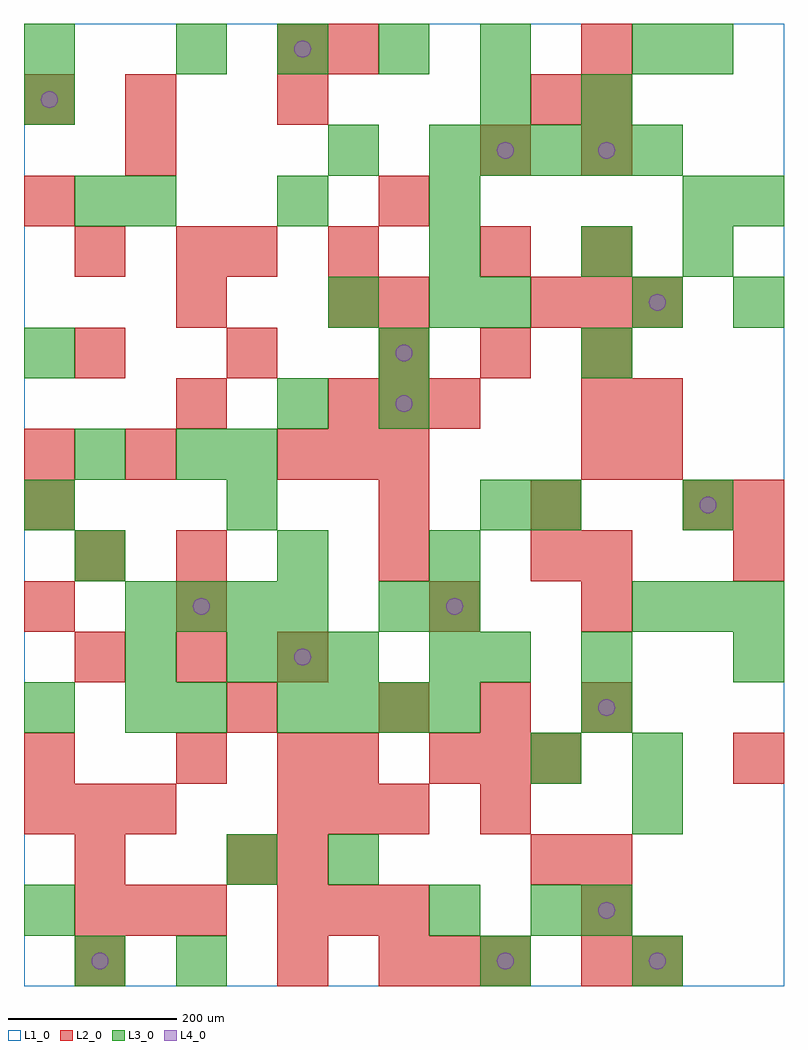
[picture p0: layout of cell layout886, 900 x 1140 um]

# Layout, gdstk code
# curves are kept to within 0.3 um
import gdstk
lib = gdstk.Library(unit=1e-6, precision=1e-09)
def R(c, l, rs):  # rectangles x0, y0, x1, y1
    for r in rs: c.add(gdstk.rectangle(r[:2], r[2:], *l))
def A(c, l, x, y, w, h, nx, ny, dx, dy):  # array of equal rectangles
    R(c, l, [(x+i*dx, y+j*dy, x+i*dx+w, y+j*dy+h) for i in range(nx) for j in range(ny)])
def P(c, l, *ps):  # polygons
    for p in ps: c.add(gdstk.Polygon(p, *l))
L1_0 = (1, 0)
L2_0 = (2, 0)
L3_0 = (3, 0)
L4_0 = (4, 0)

layout886 = lib.new_cell('layout886')
R(layout886, L1_0, [(0,0,900,1140)])
A(layout886, L2_0, 300, 0, 60, 60, 1, 3, 0, 120)
A(layout886, L2_0, 420, 0, 60, 60, 3, 1, 60, 0)
A(layout886, L2_0, 660, 0, 60, 60, 1, 3, 0, 60)
A(layout886, L2_0, 60, 60, 60, 60, 3, 1, 60, 0)
A(layout886, L2_0, 300, 60, 60, 60, 3, 2, 60, 120)
A(layout886, L2_0, 60, 120, 60, 60, 1, 3, 0, 360)
A(layout886, L2_0, 0, 180, 60, 60, 3, 1, 60, 0)
A(layout886, L2_0, 480, 240, 60, 60, 3, 1, 60, 0)
A(layout886, L2_0, 420, 300, 60, 60, 3, 1, 120, 0)
A(layout886, L2_0, 60, 360, 60, 60, 3, 1, 120, 0)
A(layout886, L2_0, 420, 540, 60, 60, 3, 1, 180, 0)
A(layout886, L2_0, 300, 600, 60, 60, 3, 1, 60, 0)
A(layout886, L2_0, 660, 600, 60, 60, 1, 3, 0, 60)
A(layout886, L2_0, 360, 660, 60, 60, 3, 1, 60, 0)
A(layout886, L2_0, 60, 720, 60, 60, 3, 1, 180, 0)
A(layout886, L2_0, 540, 720, 60, 60, 1, 3, 0, 120)
A(layout886, L2_0, 600, 780, 60, 60, 3, 1, 60, 0)
A(layout886, L2_0, 660, 960, 60, 60, 1, 3, 0, 60)
R(layout886, L2_0, [(60,0,120,60), (720,0,780,60), (240,120,300,180), (600,120,660,180), (540,180,600,240), (0,240,60,300), (180,240,240,300), (360,240,420,300), (840,240,900,300), (240,300,300,360), (0,420,60,480), (180,420,240,480), (480,420,540,480), (660,420,720,480), (180,480,240,540), (420,480,480,540), (600,480,660,540), (660,480,720,540), (840,480,900,540), (0,540,60,600), (840,540,900,600), (0,600,60,660), (120,600,180,660), (720,600,780,660), (180,660,240,720), (720,660,780,720), (180,780,240,840), (360,780,420,840), (420,780,480,840), (180,840,240,900), (240,840,300,900), (360,840,420,900), (660,840,720,900), (0,900,60,960), (420,900,480,960), (120,960,180,1020), (0,1020,60,1080), (120,1020,180,1080), (300,1020,360,1080), (600,1020,660,1080), (300,1080,360,1140), (360,1080,420,1140)])
A(layout886, L3_0, 180, 0, 60, 60, 1, 3, 0, 300)
A(layout886, L3_0, 0, 60, 60, 60, 1, 3, 0, 240)
A(layout886, L3_0, 300, 300, 60, 60, 4, 1, 60, 0)
A(layout886, L3_0, 240, 360, 60, 60, 3, 1, 60, 0)
A(layout886, L3_0, 480, 360, 60, 60, 1, 3, 0, 60)
A(layout886, L3_0, 120, 420, 60, 60, 4, 1, 60, 0)
A(layout886, L3_0, 720, 420, 60, 60, 3, 1, 60, 0)
A(layout886, L3_0, 540, 540, 60, 60, 1, 3, 0, 240)
A(layout886, L3_0, 120, 900, 60, 60, 3, 1, 180, 0)
A(layout886, L3_0, 480, 960, 60, 60, 5, 1, 60, 0)
A(layout886, L3_0, 180, 1080, 60, 60, 4, 1, 120, 0)
R(layout886, L3_0, [(60,0,120,60), (540,0,600,60), (720,0,780,60), (480,60,540,120), (600,60,660,120), (660,60,720,120), (240,120,300,180), (360,120,420,180), (720,180,780,240), (600,240,660,300), (720,240,780,300), (120,300,180,360), (660,300,720,360), (120,360,180,420), (540,360,600,420), (660,360,720,420), (840,360,900,420), (420,420,480,480), (60,480,120,540), (300,480,360,540), (240,540,300,600), (600,540,660,600), (780,540,840,600), (60,600,120,660), (240,600,300,660), (300,660,360,720), (420,660,480,720), (0,720,60,780), (420,720,480,780), (660,720,720,780), (360,780,420,840), (480,780,540,840), (720,780,780,840), (840,780,900,840), (480,840,540,900), (660,840,720,900), (780,840,840,900), (60,900,120,960), (780,900,840,960), (840,900,900,960), (360,960,420,1020), (0,1020,60,1080), (660,1020,720,1080), (0,1080,60,1140), (720,1080,780,1140), (780,1080,840,1140)])
P(layout886, L4_0, [(40,1050),(39.239,1053.827),(37.071,1057.071),(33.827,1059.239),(30,1060),(26.173,1059.239),(22.929,1057.071),(20.761,1053.827),(20,1050),(20.761,1046.173),(22.929,1042.929),(26.173,1040.761),(30,1040),(33.827,1040.761),(37.071,1042.929),(39.239,1046.173)],
  [(100,30),(99.239,33.827),(97.071,37.071),(93.827,39.239),(90,40),(86.173,39.239),(82.929,37.071),(80.761,33.827),(80,30),(80.761,26.173),(82.929,22.929),(86.173,20.761),(90,20),(93.827,20.761),(97.071,22.929),(99.239,26.173)],
  [(220,450),(219.239,453.827),(217.071,457.071),(213.827,459.239),(210,460),(206.173,459.239),(202.929,457.071),(200.761,453.827),(200,450),(200.761,446.173),(202.929,442.929),(206.173,440.761),(210,440),(213.827,440.761),(217.071,442.929),(219.239,446.173)],
  [(340,390),(339.239,393.827),(337.071,397.071),(333.827,399.239),(330,400),(326.173,399.239),(322.929,397.071),(320.761,393.827),(320,390),(320.761,386.173),(322.929,382.929),(326.173,380.761),(330,380),(333.827,380.761),(337.071,382.929),(339.239,386.173)],
  [(340,1110),(339.239,1113.827),(337.071,1117.071),(333.827,1119.239),(330,1120),(326.173,1119.239),(322.929,1117.071),(320.761,1113.827),(320,1110),(320.761,1106.173),(322.929,1102.929),(326.173,1100.761),(330,1100),(333.827,1100.761),(337.071,1102.929),(339.239,1106.173)],
  [(460,690),(459.239,693.827),(457.071,697.071),(453.827,699.239),(450,700),(446.173,699.239),(442.929,697.071),(440.761,693.827),(440,690),(440.761,686.173),(442.929,682.929),(446.173,680.761),(450,680),(453.827,680.761),(457.071,682.929),(459.239,686.173)],
  [(460,750),(459.239,753.827),(457.071,757.071),(453.827,759.239),(450,760),(446.173,759.239),(442.929,757.071),(440.761,753.827),(440,750),(440.761,746.173),(442.929,742.929),(446.173,740.761),(450,740),(453.827,740.761),(457.071,742.929),(459.239,746.173)],
  [(520,450),(519.239,453.827),(517.071,457.071),(513.827,459.239),(510,460),(506.173,459.239),(502.929,457.071),(500.761,453.827),(500,450),(500.761,446.173),(502.929,442.929),(506.173,440.761),(510,440),(513.827,440.761),(517.071,442.929),(519.239,446.173)],
  [(580,30),(579.239,33.827),(577.071,37.071),(573.827,39.239),(570,40),(566.173,39.239),(562.929,37.071),(560.761,33.827),(560,30),(560.761,26.173),(562.929,22.929),(566.173,20.761),(570,20),(573.827,20.761),(577.071,22.929),(579.239,26.173)],
  [(580,990),(579.239,993.827),(577.071,997.071),(573.827,999.239),(570,1000),(566.173,999.239),(562.929,997.071),(560.761,993.827),(560,990),(560.761,986.173),(562.929,982.929),(566.173,980.761),(570,980),(573.827,980.761),(577.071,982.929),(579.239,986.173)],
  [(700,90),(699.239,93.827),(697.071,97.071),(693.827,99.239),(690,100),(686.173,99.239),(682.929,97.071),(680.761,93.827),(680,90),(680.761,86.173),(682.929,82.929),(686.173,80.761),(690,80),(693.827,80.761),(697.071,82.929),(699.239,86.173)],
  [(700,330),(699.239,333.827),(697.071,337.071),(693.827,339.239),(690,340),(686.173,339.239),(682.929,337.071),(680.761,333.827),(680,330),(680.761,326.173),(682.929,322.929),(686.173,320.761),(690,320),(693.827,320.761),(697.071,322.929),(699.239,326.173)],
  [(700,990),(699.239,993.827),(697.071,997.071),(693.827,999.239),(690,1000),(686.173,999.239),(682.929,997.071),(680.761,993.827),(680,990),(680.761,986.173),(682.929,982.929),(686.173,980.761),(690,980),(693.827,980.761),(697.071,982.929),(699.239,986.173)],
  [(760,30),(759.239,33.827),(757.071,37.071),(753.827,39.239),(750,40),(746.173,39.239),(742.929,37.071),(740.761,33.827),(740,30),(740.761,26.173),(742.929,22.929),(746.173,20.761),(750,20),(753.827,20.761),(757.071,22.929),(759.239,26.173)],
  [(760,810),(759.239,813.827),(757.071,817.071),(753.827,819.239),(750,820),(746.173,819.239),(742.929,817.071),(740.761,813.827),(740,810),(740.761,806.173),(742.929,802.929),(746.173,800.761),(750,800),(753.827,800.761),(757.071,802.929),(759.239,806.173)],
  [(820,570),(819.239,573.827),(817.071,577.071),(813.827,579.239),(810,580),(806.173,579.239),(802.929,577.071),(800.761,573.827),(800,570),(800.761,566.173),(802.929,562.929),(806.173,560.761),(810,560),(813.827,560.761),(817.071,562.929),(819.239,566.173)])

lib.write_gds('layout886.gds')
